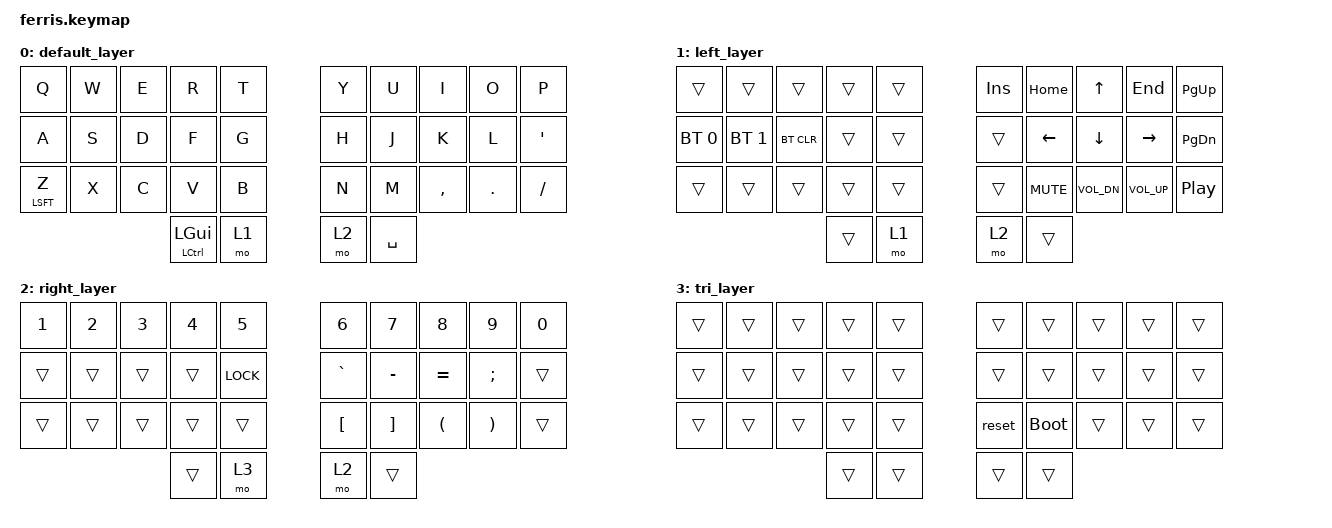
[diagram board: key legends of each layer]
/*
 * Copyright (c) 2020 The ZMK Contributors
 *
 * SPDX-License-Identifier: MIT
 */

#include <behaviors.dtsi>
#include <dt-bindings/zmk/keys.h>
#include <dt-bindings/zmk/bt.h>

/ { 

    combos {
        compatible = "zmk,combos";
            combo_bspc {
                timeout-ms = <25>;
                key-positions = <8 9>;
                bindings = <&kp BSPC>;
            };
            combo_del {
                timeout-ms = <50>;
                key-positions = <7 8 9>;
                bindings = <&kp DEL>;
            };
            combo_enter {
                timeout-ms = <50>;
                key-positions = <18 19>;
                bindings = <&kp ENTER>;
            };
            combo_gresc {
                timeout-ms = <50>;
                key-positions = <0 1>;
                bindings = <&gresc>;
            };
            combo_grave {
                timeout-ms = <50>;
                key-positions = <0 1 2>;
                bindings = <&kp GRAVE>;
            };
            combo_tab {
                timeout-ms = <50>;
                key-positions = <10 11>;
                bindings = <&kp TAB>;
            };
            combo_lsft {
                timeout-ms = <50>;
                key-positions = <20 21>;
                bindings = <&kp LSFT>;
            };
            combo_caps {
                timeout-ms = <50>;
                key-positions = <20 21 22>;
                bindings = <&kp CAPS>;
            };
            combo_lgui {
                timeout-ms = <50>;
                key-positions = <21 22 23>;
                bindings = <&kp LGUI>;
            };
            combo_lalt {
                timeout-ms = <50>;
                key-positions = <22 23 24>;
                bindings = <&kp LALT>;
            };
            combo_ralt {
                timeout-ms = <50>;
                key-positions = <25 26 27>;
                bindings = <&kp RALT>;
            };
            combo_rgui {
                timeout-ms = <50>;
                key-positions = <26 27 28>;
                bindings = <&kp RGUI>;
            };
            combo_rctl {
                timeout-ms = <50>;
                key-positions = <27 28 29>;
                bindings = <&kp RCTL>;
            };
            combo_taskmanager {
                timeout-ms = <50>;
                key-positions = <0 20>;
                bindings = <&kp LC(LS(ESC))>;
            };
            combo_screensnip {
                timeout-ms = <50>;
                key-positions = <30 33>;
                bindings = <&kp LG(LS(S))>;
            };
            combo_wack {
                timeout-ms = <50>;
                key-positions = <32 33>;
                bindings = <&kp BSLH>;
            };
            combo_lock {
                timeout-ms = <50>;
                key-positions = <30 31>;
                bindings = <&kp LG(L)>;
            };       
    };

        keymap {
                compatible = "zmk,keymap";
                
       		default_layer {
		bindings = <
		&kp Q &kp W &kp E &kp R &kp T 					        &kp Y &kp U  &kp I &kp O &kp P 
		&kp A &kp S &kp D &kp F &kp G 			                &kp H &kp J &kp K &kp L &kp SQT
		&mt LSFT Z &kp X &kp C &kp V &kp B		                &kp N &kp M  &kp COMMA &kp DOT &kp FSLH
                        &mt LCTL LGUI    &mo 1              &mo 2  &kp SPC
		>;
		};

       		left_layer {
        bindings = <           
        &trans &trans &trans &trans &trans 					        &kp INS &kp HOME &kp UP &kp END &kp PG_UP 
		&bt BT_SEL 0 &bt BT_SEL 1 &bt BT_CLR &trans &trans  					    &trans &kp LEFT &kp DOWN &kp RIGHT &kp PG_DN 
		&trans &trans &trans &trans &trans 					    &trans &kp C_MUTE &kp C_VOL_DN &kp C_VOL_UP  &kp C_PP 
                                &trans &mo 1              &mo 2 &trans 
		>;
		};
		
		right_layer {
		bindings = <
        &kp N1  &kp N2 &kp N3 &kp N4 &kp N5 				&kp N6 &kp N7 &kp N8 &kp N9 &kp N0
		&trans &trans &trans &trans &kp K_LOCK 		&kp GRAVE &kp MINUS &kp EQUAL &kp SEMI &trans
		&trans &trans &trans &trans &trans 			     &kp LBKT &kp RBKT &kp LPAR &kp RPAR &trans
                                         &trans &mo 3      &mo 2 &trans
		>;
		};	
		
		tri_layer {
		bindings = <
        &trans &trans &trans &trans &trans 					        &trans &trans &trans &trans &trans
		&trans &trans &trans &trans &trans 					        &trans &trans &trans &trans &trans 
		&trans  &trans &trans &trans &trans 					        &reset &bootloader &trans &trans &trans   
                                &trans &trans               &trans &trans 
		>;
		};	
        
	};
};
